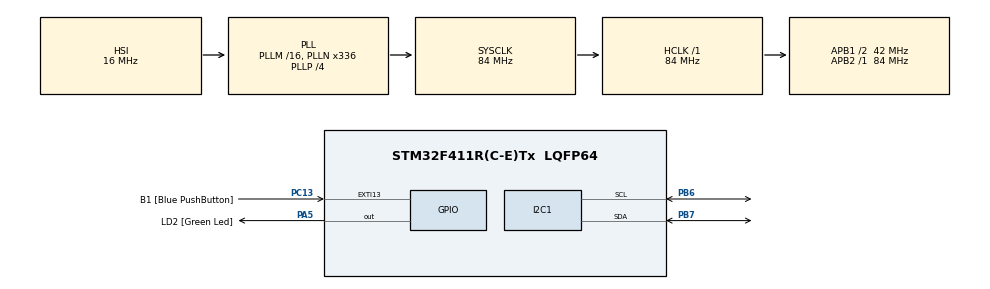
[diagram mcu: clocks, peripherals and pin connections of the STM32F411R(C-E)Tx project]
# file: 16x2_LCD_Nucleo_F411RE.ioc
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Mcu.Family=STM32F4
Mcu.Name=STM32F411R(C-E)Tx
Mcu.Package=LQFP64
NVIC.PriorityGroup=NVIC_PRIORITYGROUP_0
PA13.GPIO_Label=TMS
PA13.Mode=Trace_Asynchronous_SW
PA13.Signal=SYS_JTMS-SWDIO
PA14.GPIO_Label=TCK
PA14.Mode=Trace_Asynchronous_SW
PA14.Signal=SYS_JTCK-SWCLK
PA5.GPIO_Label=LD2 [Green Led]
PA5.Signal=GPIO_Output
PB3.GPIO_Label=SWO
PB3.Mode=Trace_Asynchronous_SW
PB3.Signal=SYS_JTDO-SWO
PB6.GPIO_Speed=GPIO_SPEED_FREQ_MEDIUM
PB6.Mode=I2C
PB6.Signal=I2C1_SCL
PB7.Mode=I2C
PB7.Signal=I2C1_SDA
PC13-ANTI_TAMP.GPIO_Label=B1 [Blue PushButton]
PC13-ANTI_TAMP.GPIO_ModeDefaultEXTI=GPIO_MODE_IT_FALLING
PC13-ANTI_TAMP.Signal=GPXTI13
PC14-OSC32_IN.Mode=LSE-External-Oscillator
PC14-OSC32_IN.Signal=RCC_OSC32_IN
PC15-OSC32_OUT.Mode=LSE-External-Oscillator
PC15-OSC32_OUT.Signal=RCC_OSC32_OUT
PH0\ -\ OSC_IN.Mode=HSE-External-Oscillator
PH0\ -\ OSC_IN.Signal=RCC_OSC_IN
PH1\ -\ OSC_OUT.Mode=HSE-External-Oscillator
PH1\ -\ OSC_OUT.Signal=RCC_OSC_OUT
ProjectManager.HeapSize=0x200
ProjectManager.StackSize=0x400
ProjectManager.TargetToolchain=STM32CubeIDE
RCC.48MHZClocksFreq_Value=84000000
RCC.AHBFreq_Value=84000000
RCC.APB1CLKDivider=RCC_HCLK_DIV2
RCC.APB1Freq_Value=42000000
RCC.APB1TimFreq_Value=84000000
RCC.APB2Freq_Value=84000000
RCC.APB2TimFreq_Value=84000000
RCC.CortexFreq_Value=84000000
RCC.FLatency-AdvancedSettings=FLASH_LATENCY_2
RCC.HCLKFreq_Value=84000000
RCC.HSE_VALUE=8000000
RCC.HSI_VALUE=16000000
RCC.PLLN=336
RCC.PLLP=RCC_PLLP_DIV4
RCC.SYSCLKFreq_VALUE=84000000
RCC.SYSCLKSource=RCC_SYSCLKSOURCE_PLLCLK
RCC.VCOOutputFreq_Value=336000000
board=NUCLEO-F411RE

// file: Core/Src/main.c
/* USER CODE BEGIN Header */
/**
 ******************************************************************************
 * @file           : main.c
 * @brief          : Main program body
 ******************************************************************************
 * @attention
 *
 * <h2><centre>&copy; Copyright (c) 2021 STMicroelectronics.
 * All rights reserved.</centre></h2>
 *
 * This software component is licensed by ST under BSD 3-Clause license,
 * the "License"; You may not use this file except in compliance with the
 * License. You may obtain a copy of the License at:
 *                        opensource.org/licenses/BSD-3-Clause
 *
 ******************************************************************************
 */
/* USER CODE END Header */
#include "main.h"

/* USER CODE BEGIN Includes */
#include "stdio.h"
#include "i2c-lcd.h"
/* USER CODE END Includes */

/* USER CODE BEGIN PM */
#define ITM_Port32(n)   (*((volatile unsigned long *)(0xE0000000+4*n)))
/* USER CODE END PM */

I2C_HandleTypeDef hi2c1;

void SystemClock_Config(void);
static void MX_GPIO_Init(void);
static void MX_I2C1_Init(void);

/* USER CODE BEGIN 0 */

int counter = 0;

char a = 0; //this byte of data is incremented in main() as a test of expressions updating

int tickstart = 0;

int tickend = 0;

int tickdiff = 0;

int HALver = 0;

/* USER CODE END 0 */

int main(void)
{

  /* MCU Configuration--------------------------------------------------------*/

  /* Reset of all peripherals, Initializes the Flash interface and the Systick. */
  HAL_Init();

  /* Configure the system clock */
  SystemClock_Config();

  /* USER CODE BEGIN SysInit */
	ITM_Port32(31) = 1;
  /* USER CODE END SysInit */

  /* Initialize all configured peripherals */
  MX_GPIO_Init();
  MX_I2C1_Init();
  /* USER CODE BEGIN 2 */
	printf("GPIO Init Done \r\n");
	ITM_Port32(31) = 2;

	//lcd_send_cmd(cmd)
	HAL_Delay(500);
	lcd_init();
	HAL_Delay(500);
	lcd_put_cur(0, 0);
	HAL_Delay(500);
	lcd_send_string("Setting up");
	HAL_Delay(500);
	lcd_put_cur(1, 0);
	lcd_send_string("The display");
	HAL_Delay(2000);
	lcd_clear();

  /* USER CODE END 2 */

  /* Infinite loop */
	while (1) {

    /* USER CODE BEGIN 3 */

		printf("I'm in the main loop!\r\n");
		HAL_Delay(500);
		lcd_put_cur(0, 0);
		HAL_Delay(500);
		lcd_send_string("Line 1 text");
		HAL_Delay(500);
		lcd_put_cur(1, 0);
		HAL_Delay(500);
		lcd_send_string("Line 2");
		HAL_Delay(500);
		lcd_clear();

		// Toggle onboard green LED
		HAL_Delay(1000);
		HAL_GPIO_TogglePin(LD2_GPIO_Port, LD2_Pin);

		a++;

		tickstart = HAL_GetTick();

		HAL_Delay(1000);

		tickend = HAL_GetTick();

		tickdiff = tickend - tickstart;

		HALver = HAL_GetHalVersion();

		counter++;
		HAL_Delay(500);

	}

  /* USER CODE END 3 */
}

void SystemClock_Config(void)
{
  RCC_OscInitTypeDef RCC_OscInitStruct = {0};
  RCC_ClkInitTypeDef RCC_ClkInitStruct = {0};

  /** Configure the main internal regulator output voltage
  */
  __HAL_RCC_PWR_CLK_ENABLE();
  __HAL_PWR_VOLTAGESCALING_CONFIG(PWR_REGULATOR_VOLTAGE_SCALE1);
  /** Initializes the RCC Oscillators according to the specified parameters
  * in the RCC_OscInitTypeDef structure.
  */
  RCC_OscInitStruct.OscillatorType = RCC_OSCILLATORTYPE_HSI;
  RCC_OscInitStruct.HSIState = RCC_HSI_ON;
  RCC_OscInitStruct.HSICalibrationValue = RCC_HSICALIBRATION_DEFAULT;
  RCC_OscInitStruct.PLL.PLLState = RCC_PLL_ON;
  RCC_OscInitStruct.PLL.PLLSource = RCC_PLLSOURCE_HSI;
  RCC_OscInitStruct.PLL.PLLM = 16;
  RCC_OscInitStruct.PLL.PLLN = 336;
  RCC_OscInitStruct.PLL.PLLP = RCC_PLLP_DIV4;
  RCC_OscInitStruct.PLL.PLLQ = 4;
  if (HAL_RCC_OscConfig(&RCC_OscInitStruct) != HAL_OK)
  {
    Error_Handler();
  }
  /** Initializes the CPU, AHB and APB buses clocks
  */
  RCC_ClkInitStruct.ClockType = RCC_CLOCKTYPE_HCLK|RCC_CLOCKTYPE_SYSCLK
                              |RCC_CLOCKTYPE_PCLK1|RCC_CLOCKTYPE_PCLK2;
  RCC_ClkInitStruct.SYSCLKSource = RCC_SYSCLKSOURCE_PLLCLK;
  RCC_ClkInitStruct.AHBCLKDivider = RCC_SYSCLK_DIV1;
  RCC_ClkInitStruct.APB1CLKDivider = RCC_HCLK_DIV2;
  RCC_ClkInitStruct.APB2CLKDivider = RCC_HCLK_DIV1;

  if (HAL_RCC_ClockConfig(&RCC_ClkInitStruct, FLASH_LATENCY_2) != HAL_OK)
  {
    Error_Handler();
  }
}

static void MX_I2C1_Init(void)
{

  hi2c1.Instance = I2C1;
  hi2c1.Init.ClockSpeed = 100000;
  hi2c1.Init.DutyCycle = I2C_DUTYCYCLE_2;
  hi2c1.Init.OwnAddress1 = 0;
  hi2c1.Init.AddressingMode = I2C_ADDRESSINGMODE_7BIT;
  hi2c1.Init.DualAddressMode = I2C_DUALADDRESS_DISABLE;
  hi2c1.Init.OwnAddress2 = 0;
  hi2c1.Init.GeneralCallMode = I2C_GENERALCALL_DISABLE;
  hi2c1.Init.NoStretchMode = I2C_NOSTRETCH_DISABLE;
  if (HAL_I2C_Init(&hi2c1) != HAL_OK)
  {
    Error_Handler();
  }

}

static void MX_GPIO_Init(void)
{
  GPIO_InitTypeDef GPIO_InitStruct = {0};

  /* GPIO Ports Clock Enable */
  __HAL_RCC_GPIOC_CLK_ENABLE();
  __HAL_RCC_GPIOH_CLK_ENABLE();
  __HAL_RCC_GPIOA_CLK_ENABLE();
  __HAL_RCC_GPIOB_CLK_ENABLE();

  /*Configure GPIO pin Output Level */
  HAL_GPIO_WritePin(LD2_GPIO_Port, LD2_Pin, GPIO_PIN_RESET);

  /*Configure GPIO pin : B1_Pin */
  GPIO_InitStruct.Pin = B1_Pin;
  GPIO_InitStruct.Mode = GPIO_MODE_IT_FALLING;
  GPIO_InitStruct.Pull = GPIO_NOPULL;
  HAL_GPIO_Init(B1_GPIO_Port, &GPIO_InitStruct);

  /*Configure GPIO pin : LD2_Pin */
  GPIO_InitStruct.Pin = LD2_Pin;
  GPIO_InitStruct.Mode = GPIO_MODE_OUTPUT_PP;
  GPIO_InitStruct.Pull = GPIO_NOPULL;
  GPIO_InitStruct.Speed = GPIO_SPEED_FREQ_LOW;
  HAL_GPIO_Init(LD2_GPIO_Port, &GPIO_InitStruct);

}

/* USER CODE BEGIN 4 */

int _write(int file, char *ptr, int len) {
	int DataIdx;

	for (DataIdx = 0; DataIdx < len; DataIdx++) {
		ITM_SendChar(*ptr++);
	}
	return len;
}

/* USER CODE END 4 */

void Error_Handler(void)
{
	__disable_irq();
	while (1) {
	}
}

/************************ (C) COPYRIGHT STMicroelectronics *****END OF FILE****/
